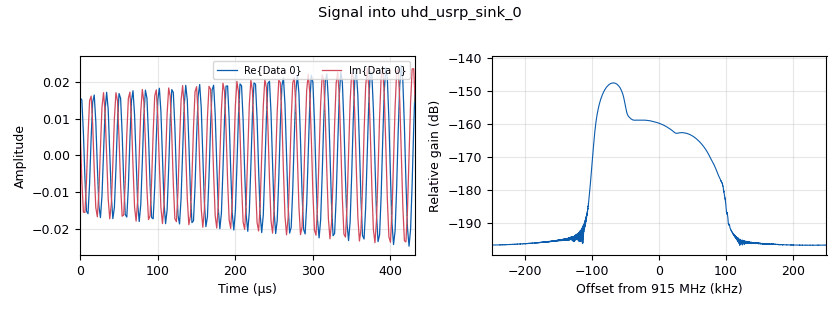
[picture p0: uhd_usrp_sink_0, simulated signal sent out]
options:
  parameters:
    author: guang
    category: '[Multipath]'
    description: TX-only chirp probe flowgraph for synthetic-bandwidth multipath sounding
    gen_cmake: 'Off'
    generate_options: no_gui
    id: multipath_chirp_tx
    output_language: python
    title: Multipath Chirp TX
  states: {}

blocks:
- name: amplitude
  id: variable
  parameters:
    comment: Baseband complex amplitude before USRP sink.
    value: '0.05'
  states: {}
- name: center_freq
  id: variable
  parameters:
    value: '915000000'
  states: {}
- name: chirp_bw
  id: variable
  parameters:
    comment: Baseband LFM chirp sweep width in Hz.
    value: '200000'
  states: {}
- name: chirp_duration
  id: variable
  parameters:
    comment: One chirp duration in seconds.
    value: '0.008'
  states: {}
- name: device_addr
  id: variable
  parameters:
    comment: Leave empty to auto-select the only attached USRP, or set "serial=2512552".
    value: '""'
  states: {}
- name: guard_duration
  id: variable
  parameters:
    comment: Zero guard before and after the chirp.
    value: '0.002'
  states: {}
- name: repeat_pause
  id: variable
  parameters:
    comment: Extra zero pause between chirp bursts.
    value: '0.010'
  states: {}
- name: rf_bandwidth
  id: variable
  parameters:
    value: '500000'
  states: {}
- name: samp_rate
  id: variable
  parameters:
    value: '500000'
  states: {}
- name: tx_gain
  id: variable
  parameters:
    comment: Normalized B210 TX gain. Start low when using antennas.
    value: '0.10'
  states: {}
- name: tx_samps
  id: variable
  parameters:
    value: int(samp_rate * tx_seconds)
  states: {}
- name: tx_seconds
  id: variable
  parameters:
    comment: Flowgraph stops after this many seconds.
    value: '10'
  states: {}
- name: blocks_head_0
  id: blocks_head
  parameters:
    num_items: tx_samps
    type: complex
  states: {}
- name: epy_chirp_source
  id: epy_block
  parameters:
    _source_code: |
      import numpy as np
      from gnuradio import gr


      class blk(gr.sync_block):
          """Periodic complex LFM chirp source for multipath sounding."""

          def __init__(
              self,
              sample_rate=500000.0,
              chirp_bw=200000.0,
              chirp_duration=0.008,
              guard_duration=0.002,
              repeat_pause=0.010,
              amplitude=0.05,
          ):
              gr.sync_block.__init__(
                  self,
                  name="Multipath Chirp Source",
                  in_sig=None,
                  out_sig=[np.complex64],
              )
              self.sample_rate = float(sample_rate)
              self.chirp_bw = float(chirp_bw)
              self.chirp_duration = float(chirp_duration)
              self.guard_duration = float(guard_duration)
              self.repeat_pause = float(repeat_pause)
              self.amplitude = float(amplitude)
              self._index = 0
              self._make_waveform()

          def _make_waveform(self):
              if self.sample_rate <= 0:
                  raise ValueError("sample_rate must be positive")
              if self.chirp_duration <= 0:
                  raise ValueError("chirp_duration must be positive")
              if self.chirp_bw <= 0 or self.chirp_bw >= self.sample_rate:
                  raise ValueError("chirp_bw must be positive and smaller than sample_rate")

              n_chirp = max(32, int(round(self.sample_rate * self.chirp_duration)))
              n_guard = max(0, int(round(self.sample_rate * self.guard_duration)))
              n_pause = max(0, int(round(self.sample_rate * self.repeat_pause)))

              t = np.arange(n_chirp, dtype=np.float64) / self.sample_rate
              sweep_rate = self.chirp_bw / self.chirp_duration
              phase = 2.0 * np.pi * ((-self.chirp_bw / 2.0) * t + 0.5 * sweep_rate * t * t)
              chirp = np.exp(1j * phase).astype(np.complex64)
              chirp *= np.hanning(n_chirp).astype(np.float32)
              chirp *= np.float32(self.amplitude)

              guard = np.zeros(n_guard, dtype=np.complex64)
              pause = np.zeros(n_pause, dtype=np.complex64)
              waveform = np.concatenate((guard, chirp, guard, pause))
              if waveform.size == 0:
                  waveform = np.zeros(1, dtype=np.complex64)
              self._waveform = waveform.astype(np.complex64, copy=False)

          def work(self, input_items, output_items):
              out = output_items[0]
              n = len(out)
              idx = (np.arange(n, dtype=np.int64) + self._index) % self._waveform.size
              out[:] = self._waveform[idx]
              self._index = (self._index + n) % self._waveform.size
              return n
    amplitude: amplitude
    chirp_bw: chirp_bw
    chirp_duration: chirp_duration
    guard_duration: guard_duration
    repeat_pause: repeat_pause
    sample_rate: samp_rate
  states: {}
- name: uhd_usrp_sink_0
  id: uhd_usrp_sink
  parameters:
    ant0: '"TX/RX"'
    bw0: rf_bandwidth
    center_freq0: center_freq
    clock_source0: internal
    dev_addr: device_addr
    dev_args: '""'
    gain0: tx_gain
    gain_type0: normalized
    otw: sc16
    samp_rate: samp_rate
    stream_args: '""'
    sync: pc_clock
    type: fc32
  states: {}

connections:
- [blocks_head_0, '0', uhd_usrp_sink_0, '0']
- [epy_chirp_source, '0', blocks_head_0, '0']

metadata:
  file_format: 1
  grc_version: 3.10.12.0
